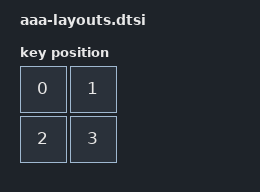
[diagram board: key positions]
/ {
    physical_layout0: physical_layout0 {
        compatible = "zmk,physical-layout";
        display-name = "AAA 2x2";

        keys =
            <&key_physical_attrs 100 100   0   0   0 0 0>
            , <&key_physical_attrs 100 100 100   0   0 0 0>
            , <&key_physical_attrs 100 100   0 100   0 0 0>
            , <&key_physical_attrs 100 100 100 100   0 0 0>
            ;
    };
};
